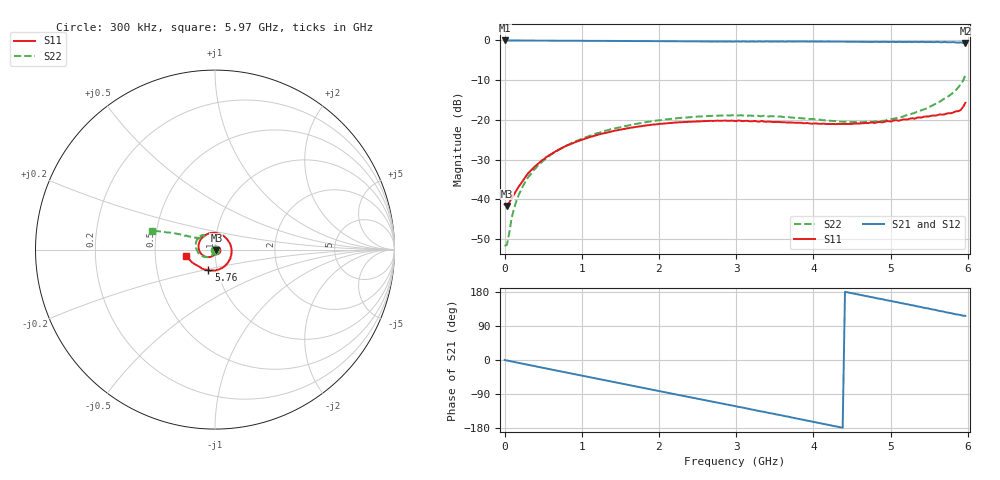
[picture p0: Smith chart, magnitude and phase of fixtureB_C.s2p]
# Hz S RI R 50
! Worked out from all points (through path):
!   200 points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, 300 kHz to 5.97 GHz, reference 50 ohm
!   highest |S21| = 0.00 dB at 300 kHz (marker M1); lowest = -0.7 dB at 5.97 GHz (marker M2)
!   group delay of S21, straight-line fit = 113 ps
!   lowest |S11| = -41.6 dB at 30.3 MHz (marker M3), VSWR 1.02, Z = 50.8 - j0.2 ohm
!   |S11| at or under -10 dB: start of sweep to end of sweep
!   |S22| runs from -51.8 to -8.7 dB; largest |S21 - S12| = 4.4e-16
!   S11 on the Smith chart (normalised r, x): 300 kHz: 1.02, -0.00; 5.76 GHz: 0.90, -0.21; 5.97 GHz: 0.72, -0.06
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300000  0.0083 -0.0024  0.9999 -0.00064  0.9999 -0.00064  0.000797 -0.00245
3.02985e7  0.00805 -0.00197  0.9993 -0.0226  0.9993 -0.0226  -0.00121 -0.0024
6.0297e7  0.00805 -0.00434  0.9982 -0.0446  0.9982 -0.0446  -0.00117 -0.00357
9.02955e7  0.00773 -0.00666  0.9968 -0.0667  0.9968 -0.0667  -0.00173 -0.0055
1.502925e8  0.0066 -0.011  0.9921 -0.1098  0.9921 -0.1098  -0.0024 -0.00908
2.102895e8  0.00499 -0.0149  0.9856 -0.1528  0.9856 -0.1528  -0.00347 -0.0125
3.00285e8  0.00239 -0.0209  0.9729 -0.2165  0.9729 -0.2165  -0.00556 -0.0179
4.502775e8  -0.00405 -0.0287  0.942 -0.3191  0.942 -0.3191  -0.0106 -0.0255
6.0027e8  -0.0121 -0.0349  0.9011 -0.4181  0.9011 -0.4181  -0.0172 -0.0321
1.020249e9  -0.0385 -0.0423  0.7335 -0.6616  0.7335 -0.6616  -0.0418 -0.0415
1.500225e9  -0.0685 -0.0316  0.4678 -0.8668  0.4678 -0.8668  -0.0732 -0.0349
2.0102e9  -0.0894 -0.00152  0.1292 -0.9699  0.1292 -0.9699  -0.0987 -0.00923
2.490176e9  -0.0886 0.0364  -0.1988 -0.9526  -0.1988 -0.9526  -0.1072 0.0239
3.00015e9  -0.0637 0.0725  -0.5189 -0.8237  -0.5189 -0.8237  -0.0991 0.0548
3.510124e9  -0.0171 0.0928  -0.7772 -0.5838  -0.7772 -0.5838  -0.08 0.076
3.9901e9  0.0365 0.0818  -0.9282 -0.2877  -0.9282 -0.2877  -0.0642 0.0804
4.500075e9  0.0824 0.0336  -0.9623 0.063  -0.9623 0.063  -0.0596 0.0729
4.980051e9  0.0878 -0.0389  -0.878 0.3765  -0.878 0.3765  -0.0766 0.0663
5.430028e9  0.0433 -0.1007  -0.7108 0.6399  -0.7108 0.6399  -0.1174 0.067
5.760012e9  -0.037 -0.1156  -0.5373 0.7796  -0.5373 0.7796  -0.1841 0.0818
5.910004e9  -0.1004 -0.0882  -0.4472 0.8317  -0.4472 0.8317  -0.2643 0.095
5.970002e9  -0.1596 -0.0375  -0.4143 0.8287  -0.4143 0.8287  -0.352 0.106
